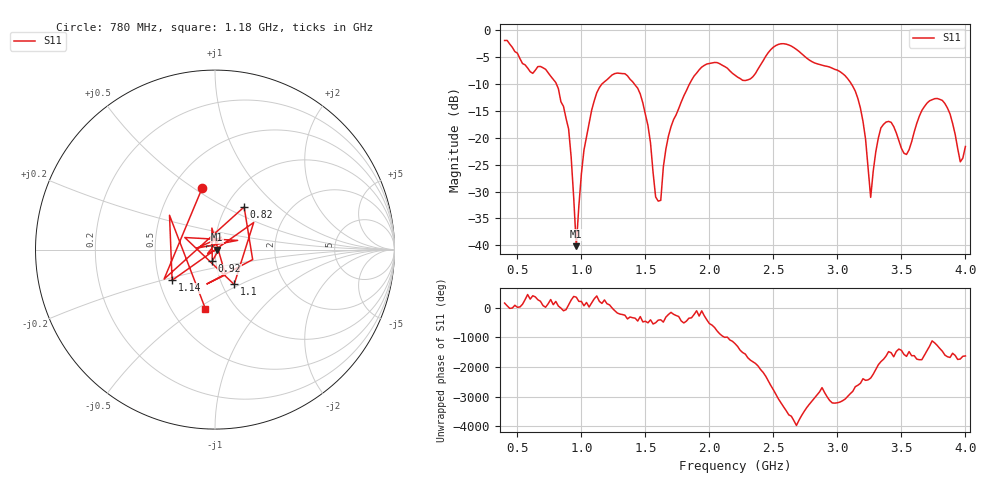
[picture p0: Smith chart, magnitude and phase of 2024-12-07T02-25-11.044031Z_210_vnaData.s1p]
!Created with skrf (http://scikit-rf.org).
# Hz S RI R 50.0
!freq ReS11 ImS11
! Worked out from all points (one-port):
!   181 points, 400 MHz to 4 GHz, reference 50 ohm
!   lowest |S11| = -40.2 dB at 960 MHz (marker M1), VSWR 1.02, Z = 51 - j0.109 ohm
!   |S11| at or under -10 dB: 805.5 MHz to 1.159 GHz (353.5 MHz wide, 36 % of centre); 1.415 GHz to 1.844 GHz (428.9 MHz wide, 26.3 % of centre); 3.11 GHz to end of sweep
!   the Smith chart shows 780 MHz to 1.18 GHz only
!   S11 on the Smith chart (normalised r, x): 780 MHz: 0.69, +0.54; 820 MHz: 1.21, +0.63; 920 MHz: 0.96, -0.12; 1.1 GHz: 1.14, -0.46; 1.14 GHz: 0.58, -0.22; 1.18 GHz: 0.73, -0.54
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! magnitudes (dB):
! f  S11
! 400 MHz  -1.9
! 780 MHz  -9.1
! 820 MHz  -10.8
! 860 MHz  -14.1
! 920 MHz  -23.6
! 960 MHz  -40.2
! 1.02 GHz  -22.3
! 1.1 GHz  -13.1
! 1.14 GHz  -10.6
! 1.18 GHz  -9.5
! 1.3 GHz  -8.0
! 1.46 GHz  -11.8
! 1.6 GHz  -31.8
! 1.68 GHz  -19.7
! 1.76 GHz  -14.5
! 1.96 GHz  -6.5
! 2.2 GHz  -8.3
! 2.66 GHz  -3.2
! 3.1 GHz  -9.6
! 3.2 GHz  -16.9
! 3.26 GHz  -31.1
! 3.3 GHz  -22.6
! 3.36 GHz  -17.5
! 3.56 GHz  -22.2
! 3.78 GHz  -12.7
! 3.88 GHz  -15.5
! 3.96 GHz  -24.4
! 4 GHz  -21.6
